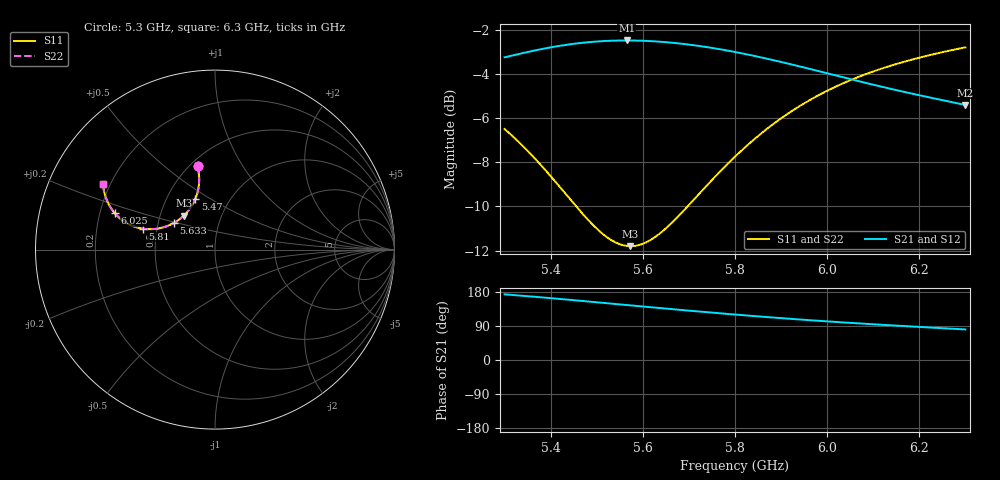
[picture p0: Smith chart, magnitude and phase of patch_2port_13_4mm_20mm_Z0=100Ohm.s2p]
! Created with skrf 1.8.0 (http://scikit-rf.org).
# Hz S RI R 100.0
!freq ReS11 ImS11 ReS21 ImS21 ReS12 ImS12 ReS22 ImS22
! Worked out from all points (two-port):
!   401 points, 5.3 GHz to 6.3 GHz, reference 100 ohm
!   highest |S21| = -2.48 dB at 5.565 GHz (marker M1); lowest = -5.4 dB at 6.3 GHz (marker M2)
!   |S21| within 3 dB of the highest: start of sweep to end of sweep
!   lowest |S11| = -11.8 dB at 5.572 GHz (marker M3), VSWR 1.69, Z = 66 + j26.6 ohm
!   |S11| at or under -10 dB: 5.455 GHz to 5.697 GHz (241.9 MHz wide, 4.34 % of centre)
!   |S22| runs from -11.8 to -2.8 dB; largest |S21 - S12| = 0
!   S11 on the Smith chart (normalised r, x): 5.3 GHz: 0.55, +0.65; 5.47 GHz: 0.69, +0.43; 5.633 GHz: 0.61, +0.20; 5.81 GHz: 0.42, +0.12; 6.025 GHz: 0.26, +0.16; 6.3 GHz: 0.17, +0.27
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5.3e9  -0.0973 0.4632  -0.6832 0.0809  -0.6832 0.0809  -0.0973 0.4632
5.34e9  -0.09 0.4234  -0.6916 0.1294  -0.6916 0.1294  -0.09 0.4234
5.39e9  -0.0887 0.37  -0.6946 0.195  -0.6946 0.195  -0.0887 0.37
5.43e9  -0.0953 0.3262  -0.6894 0.2501  -0.6894 0.2501  -0.0953 0.3262
5.4675e9  -0.1081 0.2859  -0.6775 0.3024  -0.6775 0.3024  -0.1081 0.2859
5.47e9  -0.1092 0.2833  -0.6765 0.3058  -0.6765 0.3058  -0.1092 0.2833
5.5225e9  -0.1378 0.2311  -0.6479 0.3769  -0.6479 0.3769  -0.1378 0.2311
5.565e9  -0.1686 0.1944  -0.6157 0.4304  -0.6157 0.4304  -0.1686 0.1944
5.5725e9  -0.1747 0.1885  -0.6092 0.4394  -0.6092 0.4394  -0.1747 0.1885
5.6025e9  -0.2003 0.1671  -0.5815 0.4734  -0.5815 0.4734  -0.2003 0.1671
5.6325e9  -0.2279 0.1492  -0.551 0.5043  -0.551 0.5043  -0.2279 0.1492
5.635e9  -0.2302 0.1479  -0.5483 0.5068  -0.5483 0.5068  -0.2302 0.1479
5.675e9  -0.2692 0.1301  -0.5039 0.5424  -0.5039 0.5424  -0.2692 0.1301
5.7175e9  -0.3118 0.1183  -0.4538 0.5733  -0.4538 0.5733  -0.3118 0.1183
5.8e9  -0.3932 0.1153  -0.3529 0.613  -0.3529 0.613  -0.3932 0.1153
5.81e9  -0.4027 0.1166  -0.3407 0.6161  -0.3407 0.6161  -0.4027 0.1166
5.885e9  -0.4682 0.1357  -0.2517 0.6288  -0.2517 0.6288  -0.4682 0.1357
5.9675e9  -0.5271 0.172  -0.1625 0.6248  -0.1625 0.6248  -0.5271 0.172
6.025e9  -0.5589 0.2032  -0.1073 0.6143  -0.1073 0.6143  -0.5589 0.2032
6.135e9  -0.5997 0.2685  -0.0179 0.5844  -0.0179 0.5844  -0.5997 0.2685
6.2175e9  -0.6166 0.3182  0.0381 0.5582  0.0381 0.5582  -0.6166 0.3182
6.3e9  -0.6242 0.3682  0.0873 0.5294  0.0873 0.5294  -0.6242 0.3682
